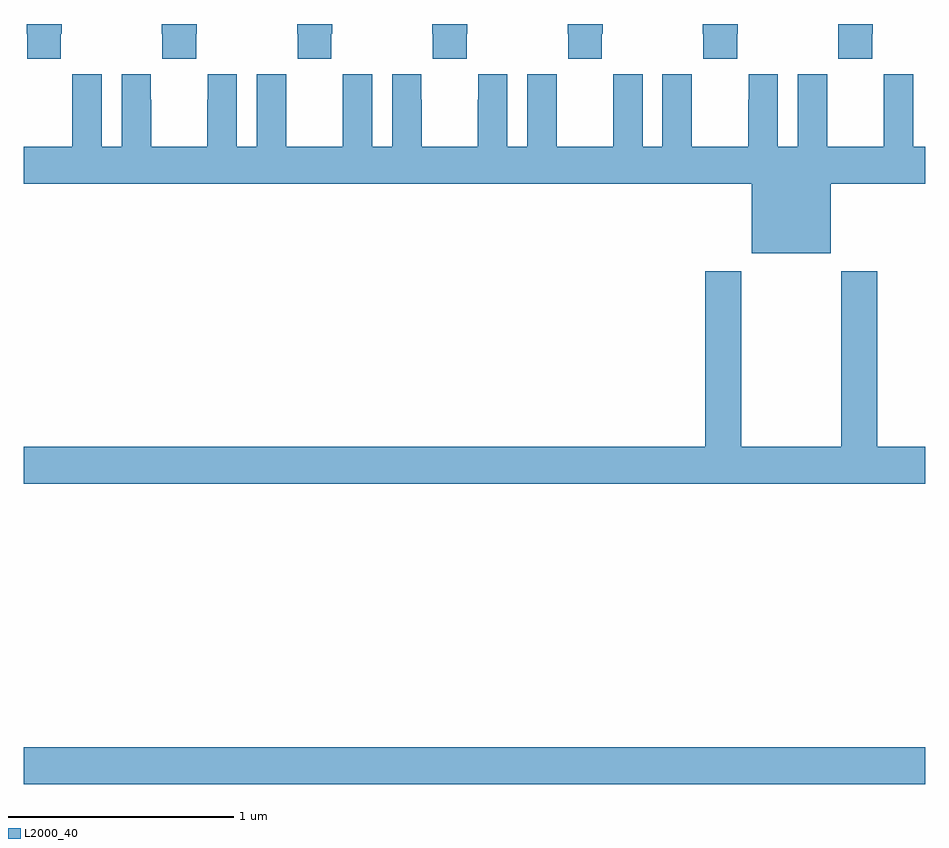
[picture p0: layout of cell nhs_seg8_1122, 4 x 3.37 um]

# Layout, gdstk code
import gdstk
lib = gdstk.Library(unit=1e-6, precision=1e-09)
def R(c, l, rs):  # rectangles x0, y0, x1, y1
    for r in rs: c.add(gdstk.rectangle(r[:2], r[2:], *l))
def P(c, l, *ps):  # polygons
    for p in ps: c.add(gdstk.Polygon(p, *l))
L2000_40 = (2000, 40)

nhs_seg8_1122 = lib.new_cell('nhs_seg8_1122')
R(nhs_seg8_1122, L2000_40, [(183,1088.528,187,1088.692)])
P(nhs_seg8_1122, L2000_40, [(183.165,1091.857),(183.168,1091.857),(183.168,1091.9),(183.013,1091.9),(183.013,1091.857),(183.015,1091.857),(183.015,1091.745),(183.165,1091.745)],
  [(183.765,1091.857),(183.768,1091.857),(183.768,1091.9),(183.613,1091.9),(183.613,1091.857),(183.615,1091.857),(183.615,1091.745),(183.765,1091.745)],
  [(184.365,1091.857),(184.368,1091.857),(184.368,1091.9),(184.213,1091.9),(184.213,1091.857),(184.215,1091.857),(184.215,1091.745),(184.365,1091.745)],
  [(184.965,1091.857),(184.968,1091.857),(184.968,1091.9),(184.813,1091.9),(184.813,1091.857),(184.815,1091.857),(184.815,1091.745),(184.965,1091.745)],
  [(185.565,1091.857),(185.568,1091.857),(185.568,1091.9),(185.413,1091.9),(185.413,1091.857),(185.415,1091.857),(185.415,1091.745),(185.565,1091.745)],
  [(186.165,1091.857),(186.168,1091.857),(186.168,1091.9),(186.013,1091.9),(186.013,1091.857),(186.015,1091.857),(186.015,1091.745),(186.165,1091.745)],
  [(186.765,1091.857),(186.768,1091.857),(186.768,1091.9),(186.613,1091.9),(186.613,1091.857),(186.615,1091.857),(186.615,1091.745),(186.765,1091.745)],
  [(183.216,1091.677),(183.216,1091.564),(183.215,1091.564),(183.215,1091.356),(183,1091.356),(183,1091.192),(186.23,1091.192),(186.23,1090.883),(186.58,1090.883),(186.58,1091.192),(187,1091.192),(187,1091.356),(186.946,1091.356),(186.946,1091.677),(186.816,1091.677),(186.816,1091.564),(186.815,1091.564),(186.815,1091.356),(186.565,1091.356),(186.565,1091.564),(186.564,1091.564),(186.564,1091.677),(186.434,1091.677),(186.434,1091.356),(186.346,1091.356),(186.346,1091.677),(186.216,1091.677),(186.216,1091.564),(186.215,1091.564),(186.215,1091.356),(185.965,1091.356),(185.965,1091.564),(185.964,1091.564),(185.964,1091.677),(185.834,1091.677),(185.834,1091.356),(185.746,1091.356),(185.746,1091.677),(185.616,1091.677),(185.616,1091.564),(185.615,1091.564),(185.615,1091.356),(185.365,1091.356),(185.365,1091.564),(185.364,1091.564),(185.364,1091.677),(185.234,1091.677),(185.234,1091.356),(185.146,1091.356),(185.146,1091.677),(185.016,1091.677),(185.016,1091.564),(185.015,1091.564),(185.015,1091.356),(184.765,1091.356),(184.765,1091.564),(184.764,1091.564),(184.764,1091.677),(184.634,1091.677),(184.634,1091.356),(184.546,1091.356),(184.546,1091.677),(184.416,1091.677),(184.416,1091.564),(184.415,1091.564),(184.415,1091.356),(184.165,1091.356),(184.165,1091.564),(184.164,1091.564),(184.164,1091.677),(184.034,1091.677),(184.034,1091.356),(183.946,1091.356),(183.946,1091.677),(183.816,1091.677),(183.816,1091.564),(183.815,1091.564),(183.815,1091.356),(183.565,1091.356),(183.565,1091.564),(183.564,1091.564),(183.564,1091.677),(183.434,1091.677),(183.434,1091.356),(183.346,1091.356),(183.346,1091.677)],
  [(187,1090.024),(186.788,1090.024),(186.788,1090.804),(186.628,1090.804),(186.628,1090.024),(186.183,1090.024),(186.183,1090.804),(186.023,1090.804),(186.023,1090.024),(183,1090.024),(183,1089.86),(187,1089.86)])

lib.write_gds('nhs_seg8_1122.gds')
